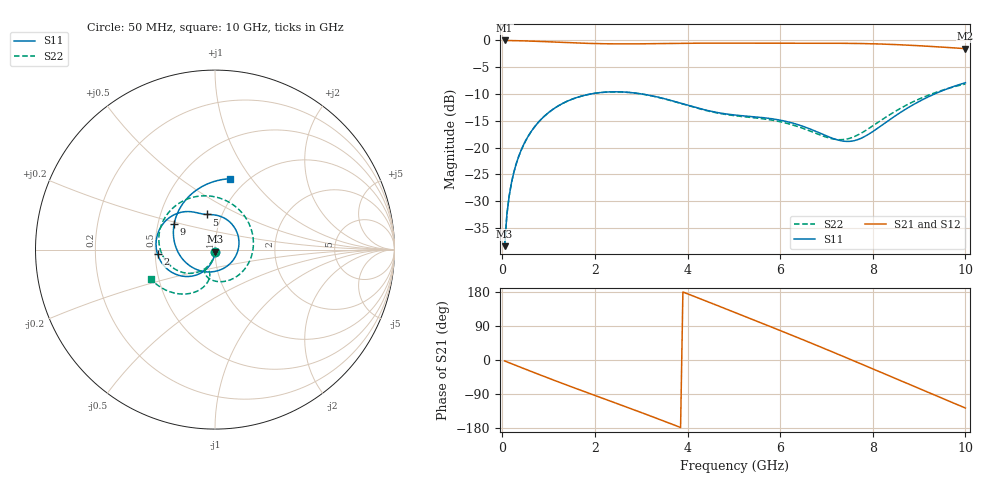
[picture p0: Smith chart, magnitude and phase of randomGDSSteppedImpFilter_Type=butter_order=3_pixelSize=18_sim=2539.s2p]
! freq	dB(S11)	phase(S11)	dB(S12)	phase(S12)
!  dB(S21)	phase(S21)	dB(S22)	phase(S22)
!S-par simulation data
#  GHz  S  DB  R 50
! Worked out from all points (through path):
!   200 points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, 50 MHz to 10 GHz, reference 50 ohm
!   highest |S21| = 0.00 dB at 50 MHz (marker M1); lowest = -1.5 dB at 10 GHz (marker M2)
!   group delay of S21, straight-line fit = 135 ps
!   lowest |S11| = -38.4 dB at 50 MHz (marker M3), VSWR 1.02, Z = 49.9 - j1.2 ohm
!   |S11| at or under -10 dB: start of sweep to 1.907 GHz; 3.016 GHz to 9.334 GHz (6.318 GHz wide, 102 % of centre)
!   |S22| runs from -38.4 to -8.1 dB; largest |S21 - S12| = 0
!   S11 on the Smith chart (normalised r, x): 50 MHz: 1.00, -0.02; 2 GHz: 0.51, -0.03; 5 GHz: 0.85, +0.35; 9 GHz: 0.61, +0.19; 10 GHz: 0.84, +0.79
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0.05  -38.41 -92.0  -0.00 -2.5  -0.00 -2.5  -38.42 -92.4
0.1  -32.44 -94.5  -0.01 -4.9  -0.01 -4.9  -32.44 -95.2
0.2  -26.50 -99.3  -0.02 -9.8  -0.02 -9.8  -26.51 -100.7
0.5  -18.80 -113.1  -0.09 -24.3  -0.09 -24.3  -18.80 -116.5
1.15  -12.53 -141.4  -0.31 -55.0  -0.31 -55.0  -12.54 -149.9
1.75  -10.30 -165.9  -0.52 -82.3  -0.52 -82.3  -10.31 179.8
2  -9.86 -175.6  -0.58 -93.6  -0.58 -93.6  -9.87 167.0
2.65  -9.65 160.7  -0.65 -122.7  -0.65 -122.7  -9.66 132.6
3.4  -10.67 136.8  -0.59 -157.0  -0.59 -157.0  -10.70 88.2
4.2  -12.58 118.0  -0.51 165.2  -0.51 165.2  -12.64 31.8
5  -13.91 103.5  -0.51 126.5  -0.51 126.5  -14.03 -30.1
5.05  -13.95 102.4  -0.51 124.1  -0.51 124.1  -14.08 -33.8
5.85  -14.66 76.3  -0.54 85.1  -0.54 85.1  -14.93 -84.3
6.25  -15.39 56.1  -0.54 65.5  -0.54 65.5  -15.73 -102.1
6.7  -16.72 25.6  -0.53 43.1  -0.53 43.1  -17.10 -114.2
7.15  -18.33 -16.7  -0.53 20.3  -0.53 20.3  -18.41 -114.1
7.55  -18.80 -65.8  -0.55 -0.2  -0.55 -0.2  -18.14 -105.8
7.95  -17.30 -115.9  -0.62 -20.9  -0.62 -20.9  -16.24 -101.1
8.35  -14.90 -157.8  -0.73 -41.7  -0.73 -41.7  -13.96 -104.5
9  -11.40 147.7  -0.99 -75.4  -0.99 -75.4  -10.94 -120.3
9.5  -9.39 111.5  -1.25 -101.2  -1.25 -101.2  -9.30 -136.5
10  -7.90 78.4  -1.53 -126.8  -1.53 -126.8  -8.13 -154.9
